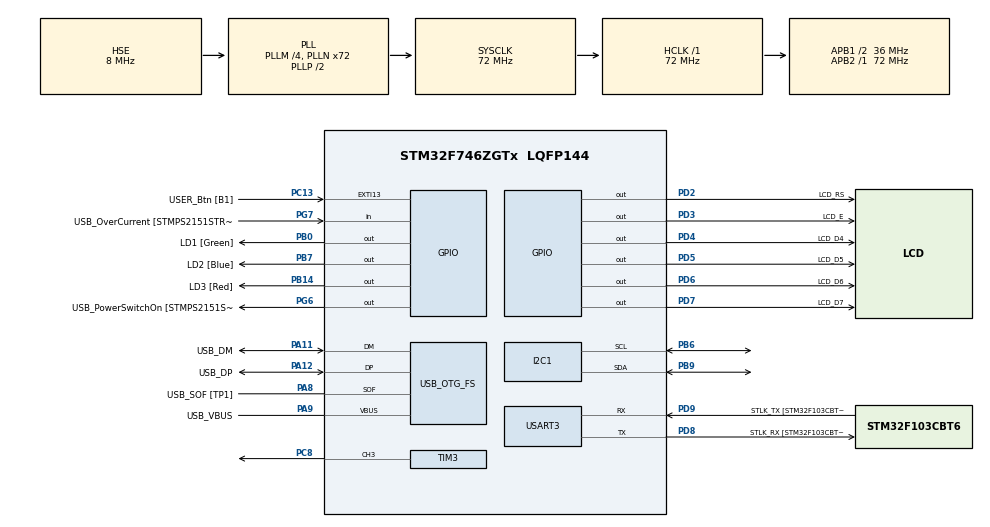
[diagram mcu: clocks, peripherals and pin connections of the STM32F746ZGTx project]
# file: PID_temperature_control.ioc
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I2C1.Timing=0x00808CD2
Mcu.Family=STM32F7
Mcu.Name=STM32F746ZGTx
Mcu.Package=LQFP144
NVIC.PriorityGroup=NVIC_PRIORITYGROUP_4
NVIC.TIM2_IRQn=true\:0\:0\:false\:false\:true\:true\:true\:true
NVIC.USART3_IRQn=true\:0\:0\:false\:false\:true\:true\:true\:true
PA1.GPIO_Label=RMII_REF_CLK [LAN8742A-CZ-TR_REFCLK0]
PA1.Signal=ETH_REF_CLK
PA10.GPIO_Label=USB_ID
PA10.Signal=USB_OTG_FS_ID
PA11.GPIO_Label=USB_DM
PA11.Mode=Device_Only
PA11.Signal=USB_OTG_FS_DM
PA12.GPIO_Label=USB_DP
PA12.Mode=Device_Only
PA12.Signal=USB_OTG_FS_DP
PA13.GPIO_Label=TMS
PA13.Mode=Serial_Wire
PA13.Signal=SYS_JTMS-SWDIO
PA14.GPIO_Label=TCK
PA14.Mode=Serial_Wire
PA14.Signal=SYS_JTCK-SWCLK
PA2.GPIO_Label=RMII_MDIO [LAN8742A-CZ-TR_MDIO]
PA2.Signal=ETH_MDIO
PA7.GPIO_Label=RMII_CRS_DV [LAN8742A-CZ-TR_CRS_DV]
PA7.Signal=ETH_CRS_DV
PA8.GPIO_Label=USB_SOF [TP1]
PA8.Mode=Activate_SOF_FS
PA8.Signal=USB_OTG_FS_SOF
PA9.GPIO_Label=USB_VBUS
PA9.Mode=Activate_VBUS
PA9.Signal=USB_OTG_FS_VBUS
PB0.GPIO_Label=LD1 [Green]
PB0.Signal=GPIO_Output
PB13.GPIO_Label=RMII_TXD1 [LAN8742A-CZ-TR_TXD1]
PB13.Signal=ETH_TXD1
PB14.GPIO_Label=LD3 [Red]
PB14.Signal=GPIO_Output
PB3.GPIO_Label=SW0
PB3.Signal=SYS_JTDO-SWO
PB6.Mode=I2C
PB6.Signal=I2C1_SCL
PB7.GPIO_Label=LD2 [Blue]
PB7.Signal=GPIO_Output
PB9.Mode=I2C
PB9.Signal=I2C1_SDA
PC1.GPIO_Label=RMII_MDC [LAN8742A-CZ-TR_MDC]
PC1.Signal=ETH_MDC
PC13.GPIO_Label=USER_Btn [B1]
PC13.Signal=GPXTI13
PC14/OSC32_IN.Mode=LSE-External-Oscillator
PC14/OSC32_IN.Signal=RCC_OSC32_IN
PC15/OSC32_OUT.Mode=LSE-External-Oscillator
PC15/OSC32_OUT.Signal=RCC_OSC32_OUT
PC4.GPIO_Label=RMII_RXD0 [LAN8742A-CZ-TR_RXD0]
PC4.Signal=ETH_RXD0
PC5.GPIO_Label=RMII_RXD1 [LAN8742A-CZ-TR_RXD1]
PC5.Signal=ETH_RXD1
PC6.Signal=S_TIM3_CH1
PC8.Signal=S_TIM3_CH3
PD2.GPIO_Label=LCD_RS
PD2.Signal=GPIO_Output
PD3.GPIO_Label=LCD_E
PD3.Signal=GPIO_Output
PD4.GPIO_Label=LCD_D4
PD4.Signal=GPIO_Output
PD5.GPIO_Label=LCD_D5
PD5.Signal=GPIO_Output
PD6.GPIO_Label=LCD_D6
PD6.Signal=GPIO_Output
PD7.GPIO_Label=LCD_D7
PD7.Signal=GPIO_Output
PD8.GPIO_Label=STLK_RX [STM32F103CBT6_PA3]
PD8.GPIO_PuPd=GPIO_PULLUP
PD8.Mode=Asynchronous
PD8.Signal=USART3_TX
PD9.GPIO_Label=STLK_TX [STM32F103CBT6_PA2]
PD9.GPIO_PuPd=GPIO_PULLUP
PD9.Mode=Asynchronous
PD9.Signal=USART3_RX
PG11.GPIO_Label=RMII_TX_EN [LAN8742A-CZ-TR_TXEN]
PG11.Signal=ETH_TX_EN
PG13.GPIO_Label=RMII_TXD0 [LAN8742A-CZ-TR_TXD0]
PG13.Signal=ETH_TXD0
PG6.GPIO_Label=USB_PowerSwitchOn [STMPS2151STR_EN]
PG6.Signal=GPIO_Output
PG7.GPIO_Label=USB_OverCurrent [STMPS2151STR_FAULT]
PG7.Signal=GPIO_Input
PH0/OSC_IN.GPIO_Label=MCO [STM32F103CBT6_PA8]
PH0/OSC_IN.Mode=HSE-External-Clock-Source
PH0/OSC_IN.Signal=RCC_OSC_IN
PH1/OSC_OUT.Mode=HSE-External-Clock-Source
PH1/OSC_OUT.Signal=RCC_OSC_OUT
ProjectManager.HeapSize=0x200
ProjectManager.StackSize=0x400
ProjectManager.TargetToolchain=STM32CubeIDE
RCC.48MHZClocksFreq_Value=24000000
RCC.AHBFreq_Value=72000000
RCC.APB1CLKDivider=RCC_HCLK_DIV2
RCC.APB1Freq_Value=36000000
RCC.APB1TimFreq_Value=72000000
RCC.APB2Freq_Value=72000000
RCC.APB2TimFreq_Value=72000000
RCC.CortexFreq_Value=72000000
RCC.HCLKFreq_Value=72000000
RCC.HSE_VALUE=8000000
RCC.HSI_VALUE=16000000
RCC.PLLM=4
RCC.PLLMUL=RCC_PLL_MUL9
RCC.PLLN=72
RCC.PLLQ=3
RCC.PRESCALERUSB=RCC_USBCLKSOURCE_PLL_DIV1_5
RCC.SYSCLKFreq_VALUE=72000000
RCC.SYSCLKSource=RCC_SYSCLKSOURCE_PLLCLK
RCC.SYSCLKSourceVirtual=RCC_SYSCLKSOURCE_PLLCLK
RCC.USBFreq_Value=48000000
RCC.VCOOutputFreq_Value=144000000
SH.S_TIM3_CH1.0=TIM3_CH1
SH.S_TIM3_CH3.0=TIM3_CH3,PWM Generation3 CH3
TIM1.Prescaler=617
TIM2.AutoReloadPreload=TIM_AUTORELOAD_PRELOAD_ENABLE
TIM2.Period=1000000
TIM2.Prescaler=71
TIM3.AutoReloadPreload=TIM_AUTORELOAD_PRELOAD_ENABLE
TIM3.Channel-PWM\ Generation3\ CH3=TIM_CHANNEL_3
TIM3.Period=999
TIM3.Prescaler=71
TIM3.Pulse-PWM\ Generation3\ CH3=900
USART3.VirtualMode-Asynchronous=VM_ASYNC
USB_OTG_FS.VirtualMode=Device_Only
VP_TIM1_VS_ClockSourceINT.Mode=Internal
VP_TIM2_VS_ClockSourceINT.Mode=Internal
board=NUCLEO-F746ZG

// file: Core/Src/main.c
/* USER CODE BEGIN Header */
/**
  ******************************************************************************
  * @file           : main.c
  * @brief          : Main program body
  ******************************************************************************
  * @attention
  *
  * Copyright (c) 2022 STMicroelectronics.
  * All rights reserved.
  *
  * This software is licensed under terms that can be found in the LICENSE file
  * in the root directory of this software component.
  * If no LICENSE file comes with this software, it is provided AS-IS.
  *
  ******************************************************************************
  */
/* USER CODE END Header */
#include "main.h"

/* USER CODE BEGIN Includes */
#include "BMPXX80.h"
#include "string.h"
#include <stdlib.h>
#include "LCD.h"
#include "stm32f7xx_hal.h"
#include "stdio.h"
/* USER CODE END Includes */

I2C_HandleTypeDef hi2c1;

TIM_HandleTypeDef htim1;
TIM_HandleTypeDef htim2;
TIM_HandleTypeDef htim3;

UART_HandleTypeDef huart3;

PCD_HandleTypeDef hpcd_USB_OTG_FS;

/* USER CODE BEGIN PV */
uint8_t key[2] = "";

char text[100] = "";
char LCD_read_temperature[16] = "";
char LCD_target_temperature[16] = "";

float desired_temperature = 25.0f;
float temperature = 0.0f;
float error = 0.0f;
float previous_error = 0.0f;
float integral_error = 0.0f;

int pwm_duty = 0;

// Nastawy regulatora PID
float Kp = 0.3073f;
float Ki = 0.0035f;
float Kd = 0.0122f;
float dt = 1.0f;
/* USER CODE END PV */

void SystemClock_Config(void);
static void MX_GPIO_Init(void);
static void MX_USART3_UART_Init(void);
static void MX_USB_OTG_FS_PCD_Init(void);
static void MX_I2C1_Init(void);
static void MX_TIM3_Init(void);
static void MX_TIM2_Init(void);
static void MX_TIM1_Init(void);

int main(void)
{

  /* MCU Configuration--------------------------------------------------------*/

  /* Reset of all peripherals, Initializes the Flash interface and the Systick. */
  HAL_Init();

  /* Configure the system clock */
  SystemClock_Config();

  /* Initialize all configured peripherals */
  MX_GPIO_Init();
  MX_USART3_UART_Init();
  MX_USB_OTG_FS_PCD_Init();
  MX_I2C1_Init();
  MX_TIM3_Init();
  MX_TIM2_Init();
  MX_TIM1_Init();
  /* USER CODE BEGIN 2 */
  HAL_TIM_PWM_Start (&htim3, TIM_CHANNEL_3);
  HAL_TIM_Base_Start_IT(&htim2);
  HAL_TIM_Base_Start(&htim1);
  BMP280_Init(&hi2c1, BMP280_TEMPERATURE_16BIT, BMP280_STANDARD, BMP280_FORCEDMODE);
  HAL_UART_Receive_IT(&huart3, key, 2);
  LCD_Init();
  /* USER CODE END 2 */

  /* Infinite loop */
  while (1)
  {

    /* USER CODE BEGIN 3 */
	// Tworzenie stringów z docelową i odczytaną temperaturą
	sprintf(LCD_target_temperature, "%Docelowa: %2.2f", desired_temperature);
	sprintf(LCD_read_temperature, "%Odczyt:   %2.2f", temperature);

	// Print na LCD
	LCD_Cls();
	LCD_Locate(0,0);
	LCD_String(LCD_target_temperature);
	LCD_Locate(0,1);
	LCD_String(LCD_read_temperature);
	HAL_Delay(100);
  }
  /* USER CODE END 3 */
}

void SystemClock_Config(void)
{
  RCC_OscInitTypeDef RCC_OscInitStruct = {0};
  RCC_ClkInitTypeDef RCC_ClkInitStruct = {0};

  /** Configure LSE Drive Capability
  */
  HAL_PWR_EnableBkUpAccess();

  /** Configure the main internal regulator output voltage
  */
  __HAL_RCC_PWR_CLK_ENABLE();
  __HAL_PWR_VOLTAGESCALING_CONFIG(PWR_REGULATOR_VOLTAGE_SCALE3);

  /** Initializes the RCC Oscillators according to the specified parameters
  * in the RCC_OscInitTypeDef structure.
  */
  RCC_OscInitStruct.OscillatorType = RCC_OSCILLATORTYPE_HSE;
  RCC_OscInitStruct.HSEState = RCC_HSE_BYPASS;
  RCC_OscInitStruct.PLL.PLLState = RCC_PLL_ON;
  RCC_OscInitStruct.PLL.PLLSource = RCC_PLLSOURCE_HSE;
  RCC_OscInitStruct.PLL.PLLM = 4;
  RCC_OscInitStruct.PLL.PLLN = 72;
  RCC_OscInitStruct.PLL.PLLP = RCC_PLLP_DIV2;
  RCC_OscInitStruct.PLL.PLLQ = 3;
  if (HAL_RCC_OscConfig(&RCC_OscInitStruct) != HAL_OK)
  {
    Error_Handler();
  }

  /** Initializes the CPU, AHB and APB buses clocks
  */
  RCC_ClkInitStruct.ClockType = RCC_CLOCKTYPE_HCLK|RCC_CLOCKTYPE_SYSCLK
                              |RCC_CLOCKTYPE_PCLK1|RCC_CLOCKTYPE_PCLK2;
  RCC_ClkInitStruct.SYSCLKSource = RCC_SYSCLKSOURCE_PLLCLK;
  RCC_ClkInitStruct.AHBCLKDivider = RCC_SYSCLK_DIV1;
  RCC_ClkInitStruct.APB1CLKDivider = RCC_HCLK_DIV2;
  RCC_ClkInitStruct.APB2CLKDivider = RCC_HCLK_DIV1;

  if (HAL_RCC_ClockConfig(&RCC_ClkInitStruct, FLASH_LATENCY_2) != HAL_OK)
  {
    Error_Handler();
  }
}

static void MX_I2C1_Init(void)
{

  hi2c1.Instance = I2C1;
  hi2c1.Init.Timing = 0x00808CD2;
  hi2c1.Init.OwnAddress1 = 0;
  hi2c1.Init.AddressingMode = I2C_ADDRESSINGMODE_7BIT;
  hi2c1.Init.DualAddressMode = I2C_DUALADDRESS_DISABLE;
  hi2c1.Init.OwnAddress2 = 0;
  hi2c1.Init.OwnAddress2Masks = I2C_OA2_NOMASK;
  hi2c1.Init.GeneralCallMode = I2C_GENERALCALL_DISABLE;
  hi2c1.Init.NoStretchMode = I2C_NOSTRETCH_DISABLE;
  if (HAL_I2C_Init(&hi2c1) != HAL_OK)
  {
    Error_Handler();
  }

  /** Configure Analogue filter
  */
  if (HAL_I2CEx_ConfigAnalogFilter(&hi2c1, I2C_ANALOGFILTER_ENABLE) != HAL_OK)
  {
    Error_Handler();
  }

  /** Configure Digital filter
  */
  if (HAL_I2CEx_ConfigDigitalFilter(&hi2c1, 0) != HAL_OK)
  {
    Error_Handler();
  }

}

static void MX_TIM1_Init(void)
{

  TIM_ClockConfigTypeDef sClockSourceConfig = {0};
  TIM_MasterConfigTypeDef sMasterConfig = {0};

  htim1.Instance = TIM1;
  htim1.Init.Prescaler = 617;
  htim1.Init.CounterMode = TIM_COUNTERMODE_UP;
  htim1.Init.Period = 65535;
  htim1.Init.ClockDivision = TIM_CLOCKDIVISION_DIV1;
  htim1.Init.RepetitionCounter = 0;
  htim1.Init.AutoReloadPreload = TIM_AUTORELOAD_PRELOAD_DISABLE;
  if (HAL_TIM_Base_Init(&htim1) != HAL_OK)
  {
    Error_Handler();
  }
  sClockSourceConfig.ClockSource = TIM_CLOCKSOURCE_INTERNAL;
  if (HAL_TIM_ConfigClockSource(&htim1, &sClockSourceConfig) != HAL_OK)
  {
    Error_Handler();
  }
  sMasterConfig.MasterOutputTrigger = TIM_TRGO_RESET;
  sMasterConfig.MasterOutputTrigger2 = TIM_TRGO2_RESET;
  sMasterConfig.MasterSlaveMode = TIM_MASTERSLAVEMODE_DISABLE;
  if (HAL_TIMEx_MasterConfigSynchronization(&htim1, &sMasterConfig) != HAL_OK)
  {
    Error_Handler();
  }

}

static void MX_TIM2_Init(void)
{

  TIM_ClockConfigTypeDef sClockSourceConfig = {0};
  TIM_MasterConfigTypeDef sMasterConfig = {0};

  htim2.Instance = TIM2;
  htim2.Init.Prescaler = 71;
  htim2.Init.CounterMode = TIM_COUNTERMODE_UP;
  htim2.Init.Period = 1000000;
  htim2.Init.ClockDivision = TIM_CLOCKDIVISION_DIV1;
  htim2.Init.AutoReloadPreload = TIM_AUTORELOAD_PRELOAD_ENABLE;
  if (HAL_TIM_Base_Init(&htim2) != HAL_OK)
  {
    Error_Handler();
  }
  sClockSourceConfig.ClockSource = TIM_CLOCKSOURCE_INTERNAL;
  if (HAL_TIM_ConfigClockSource(&htim2, &sClockSourceConfig) != HAL_OK)
  {
    Error_Handler();
  }
  sMasterConfig.MasterOutputTrigger = TIM_TRGO_RESET;
  sMasterConfig.MasterSlaveMode = TIM_MASTERSLAVEMODE_DISABLE;
  if (HAL_TIMEx_MasterConfigSynchronization(&htim2, &sMasterConfig) != HAL_OK)
  {
    Error_Handler();
  }

}

static void MX_TIM3_Init(void)
{

  TIM_MasterConfigTypeDef sMasterConfig = {0};
  TIM_OC_InitTypeDef sConfigOC = {0};

  htim3.Instance = TIM3;
  htim3.Init.Prescaler = 71;
  htim3.Init.CounterMode = TIM_COUNTERMODE_UP;
  htim3.Init.Period = 999;
  htim3.Init.ClockDivision = TIM_CLOCKDIVISION_DIV1;
  htim3.Init.AutoReloadPreload = TIM_AUTORELOAD_PRELOAD_ENABLE;
  if (HAL_TIM_PWM_Init(&htim3) != HAL_OK)
  {
    Error_Handler();
  }
  sMasterConfig.MasterOutputTrigger = TIM_TRGO_RESET;
  sMasterConfig.MasterSlaveMode = TIM_MASTERSLAVEMODE_DISABLE;
  if (HAL_TIMEx_MasterConfigSynchronization(&htim3, &sMasterConfig) != HAL_OK)
  {
    Error_Handler();
  }
  sConfigOC.OCMode = TIM_OCMODE_PWM1;
  sConfigOC.Pulse = 900;
  sConfigOC.OCPolarity = TIM_OCPOLARITY_HIGH;
  sConfigOC.OCFastMode = TIM_OCFAST_DISABLE;
  if (HAL_TIM_PWM_ConfigChannel(&htim3, &sConfigOC, TIM_CHANNEL_3) != HAL_OK)
  {
    Error_Handler();
  }
  HAL_TIM_MspPostInit(&htim3);

}

static void MX_USART3_UART_Init(void)
{

  huart3.Instance = USART3;
  huart3.Init.BaudRate = 115200;
  huart3.Init.WordLength = UART_WORDLENGTH_8B;
  huart3.Init.StopBits = UART_STOPBITS_1;
  huart3.Init.Parity = UART_PARITY_NONE;
  huart3.Init.Mode = UART_MODE_TX_RX;
  huart3.Init.HwFlowCtl = UART_HWCONTROL_NONE;
  huart3.Init.OverSampling = UART_OVERSAMPLING_16;
  huart3.Init.OneBitSampling = UART_ONE_BIT_SAMPLE_DISABLE;
  huart3.AdvancedInit.AdvFeatureInit = UART_ADVFEATURE_NO_INIT;
  if (HAL_UART_Init(&huart3) != HAL_OK)
  {
    Error_Handler();
  }

}

static void MX_USB_OTG_FS_PCD_Init(void)
{

  hpcd_USB_OTG_FS.Instance = USB_OTG_FS;
  hpcd_USB_OTG_FS.Init.dev_endpoints = 6;
  hpcd_USB_OTG_FS.Init.speed = PCD_SPEED_FULL;
  hpcd_USB_OTG_FS.Init.dma_enable = DISABLE;
  hpcd_USB_OTG_FS.Init.phy_itface = PCD_PHY_EMBEDDED;
  hpcd_USB_OTG_FS.Init.Sof_enable = ENABLE;
  hpcd_USB_OTG_FS.Init.low_power_enable = DISABLE;
  hpcd_USB_OTG_FS.Init.lpm_enable = DISABLE;
  hpcd_USB_OTG_FS.Init.vbus_sensing_enable = ENABLE;
  hpcd_USB_OTG_FS.Init.use_dedicated_ep1 = DISABLE;
  if (HAL_PCD_Init(&hpcd_USB_OTG_FS) != HAL_OK)
  {
    Error_Handler();
  }

}

static void MX_GPIO_Init(void)
{
  GPIO_InitTypeDef GPIO_InitStruct = {0};

  /* GPIO Ports Clock Enable */
  __HAL_RCC_GPIOC_CLK_ENABLE();
  __HAL_RCC_GPIOH_CLK_ENABLE();
  __HAL_RCC_GPIOA_CLK_ENABLE();
  __HAL_RCC_GPIOB_CLK_ENABLE();
  __HAL_RCC_GPIOD_CLK_ENABLE();
  __HAL_RCC_GPIOG_CLK_ENABLE();

  /*Configure GPIO pin Output Level */
  HAL_GPIO_WritePin(GPIOB, LD1_Pin|LD3_Pin|LD2_Pin, GPIO_PIN_RESET);

  /*Configure GPIO pin Output Level */
  HAL_GPIO_WritePin(USB_PowerSwitchOn_GPIO_Port, USB_PowerSwitchOn_Pin, GPIO_PIN_RESET);

  /*Configure GPIO pin Output Level */
  HAL_GPIO_WritePin(GPIOD, LCD_RS_Pin|LCD_E_Pin|LCD_D4_Pin|LCD_D5_Pin
                          |LCD_D6_Pin|LCD_D7_Pin, GPIO_PIN_RESET);

  /*Configure GPIO pin : USER_Btn_Pin */
  GPIO_InitStruct.Pin = USER_Btn_Pin;
  GPIO_InitStruct.Mode = GPIO_MODE_IT_RISING;
  GPIO_InitStruct.Pull = GPIO_NOPULL;
  HAL_GPIO_Init(USER_Btn_GPIO_Port, &GPIO_InitStruct);

  /*Configure GPIO pins : RMII_MDC_Pin RMII_RXD0_Pin RMII_RXD1_Pin */
  GPIO_InitStruct.Pin = RMII_MDC_Pin|RMII_RXD0_Pin|RMII_RXD1_Pin;
  GPIO_InitStruct.Mode = GPIO_MODE_AF_PP;
  GPIO_InitStruct.Pull = GPIO_NOPULL;
  GPIO_InitStruct.Speed = GPIO_SPEED_FREQ_VERY_HIGH;
  GPIO_InitStruct.Alternate = GPIO_AF11_ETH;
  HAL_GPIO_Init(GPIOC, &GPIO_InitStruct);

  /*Configure GPIO pins : RMII_REF_CLK_Pin RMII_MDIO_Pin RMII_CRS_DV_Pin */
  GPIO_InitStruct.Pin = RMII_REF_CLK_Pin|RMII_MDIO_Pin|RMII_CRS_DV_Pin;
  GPIO_InitStruct.Mode = GPIO_MODE_AF_PP;
  GPIO_InitStruct.Pull = GPIO_NOPULL;
  GPIO_InitStruct.Speed = GPIO_SPEED_FREQ_VERY_HIGH;
  GPIO_InitStruct.Alternate = GPIO_AF11_ETH;
  HAL_GPIO_Init(GPIOA, &GPIO_InitStruct);

  /*Configure GPIO pins : LD1_Pin LD3_Pin LD2_Pin */
  GPIO_InitStruct.Pin = LD1_Pin|LD3_Pin|LD2_Pin;
  GPIO_InitStruct.Mode = GPIO_MODE_OUTPUT_PP;
  GPIO_InitStruct.Pull = GPIO_NOPULL;
  GPIO_InitStruct.Speed = GPIO_SPEED_FREQ_LOW;
  HAL_GPIO_Init(GPIOB, &GPIO_InitStruct);

  /*Configure GPIO pin : RMII_TXD1_Pin */
  GPIO_InitStruct.Pin = RMII_TXD1_Pin;
  GPIO_InitStruct.Mode = GPIO_MODE_AF_PP;
  GPIO_InitStruct.Pull = GPIO_NOPULL;
  GPIO_InitStruct.Speed = GPIO_SPEED_FREQ_VERY_HIGH;
  GPIO_InitStruct.Alternate = GPIO_AF11_ETH;
  HAL_GPIO_Init(RMII_TXD1_GPIO_Port, &GPIO_InitStruct);

  /*Configure GPIO pin : USB_PowerSwitchOn_Pin */
  GPIO_InitStruct.Pin = USB_PowerSwitchOn_Pin;
  GPIO_InitStruct.Mode = GPIO_MODE_OUTPUT_PP;
  GPIO_InitStruct.Pull = GPIO_NOPULL;
  GPIO_InitStruct.Speed = GPIO_SPEED_FREQ_LOW;
  HAL_GPIO_Init(USB_PowerSwitchOn_GPIO_Port, &GPIO_InitStruct);

  /*Configure GPIO pin : USB_OverCurrent_Pin */
  GPIO_InitStruct.Pin = USB_OverCurrent_Pin;
  GPIO_InitStruct.Mode = GPIO_MODE_INPUT;
  GPIO_InitStruct.Pull = GPIO_NOPULL;
  HAL_GPIO_Init(USB_OverCurrent_GPIO_Port, &GPIO_InitStruct);

  /*Configure GPIO pins : LCD_RS_Pin LCD_E_Pin LCD_D4_Pin LCD_D5_Pin
                           LCD_D6_Pin LCD_D7_Pin */
  GPIO_InitStruct.Pin = LCD_RS_Pin|LCD_E_Pin|LCD_D4_Pin|LCD_D5_Pin
                          |LCD_D6_Pin|LCD_D7_Pin;
  GPIO_InitStruct.Mode = GPIO_MODE_OUTPUT_PP;
  GPIO_InitStruct.Pull = GPIO_NOPULL;
  GPIO_InitStruct.Speed = GPIO_SPEED_FREQ_LOW;
  HAL_GPIO_Init(GPIOD, &GPIO_InitStruct);

  /*Configure GPIO pins : RMII_TX_EN_Pin RMII_TXD0_Pin */
  GPIO_InitStruct.Pin = RMII_TX_EN_Pin|RMII_TXD0_Pin;
  GPIO_InitStruct.Mode = GPIO_MODE_AF_PP;
  GPIO_InitStruct.Pull = GPIO_NOPULL;
  GPIO_InitStruct.Speed = GPIO_SPEED_FREQ_VERY_HIGH;
  GPIO_InitStruct.Alternate = GPIO_AF11_ETH;
  HAL_GPIO_Init(GPIOG, &GPIO_InitStruct);

}

/* USER CODE BEGIN 4 */
void HAL_UART_RxCpltCallback(UART_HandleTypeDef *huart)
{
	// Odczyt docelowej temperatury
	desired_temperature = atof(key);
	HAL_UART_Receive_IT(&huart3, key, 2);
}

void HAL_TIM_PeriodElapsedCallback(TIM_HandleTypeDef* htim)
{
	float uPid, derivative, P, I, D;

	// Pomiar temperatury
	BMP280_ReadTemperatureAndPressure(&temperature, NULL);

	// Wyznaczenie uchybu, błędu całkowania i pochodnej
	error = desired_temperature - temperature;
	integral_error += (error + previous_error);
	derivative = (error - previous_error) / dt;

	// Wyliczenie członów
	P = Kp * error;
	I = Ki * integral_error * (dt / 2.0f);
	D = Kd * derivative;

	// Wyznaczenie sygnał sterującego
	uPid = P + I + D;

	// Saturacja
	if(uPid > 1.0)
		uPid = 1.0;
	else if(uPid < 0.0)
		uPid = 0.0;

	// Konwersja sygnału sterującego na wypełnienie PWM
	pwm_duty = (int)(uPid * 1000.0);

	// Nadpisanie wypełnienia
	__HAL_TIM_SET_COMPARE(&htim3, TIM_CHANNEL_3, pwm_duty);

	// Logging
	snprintf(text, sizeof(text), "{\"temperature\":%.2f}\n", temperature);
	//snprintf(text, sizeof(text), "{Odczyt:%.2f, Docelowa:%.2f}", temperature, desired_temperature);
	HAL_UART_Transmit(&huart3, (uint8_t*)text, strlen(text), 1000);
	text[0] = 0;

	// Zapamiętanie starego uchybu
	previous_error = error;
}

/* USER CODE END 4 */

void Error_Handler(void)
{
  __disable_irq();
  while (1)
  {
  }
}
